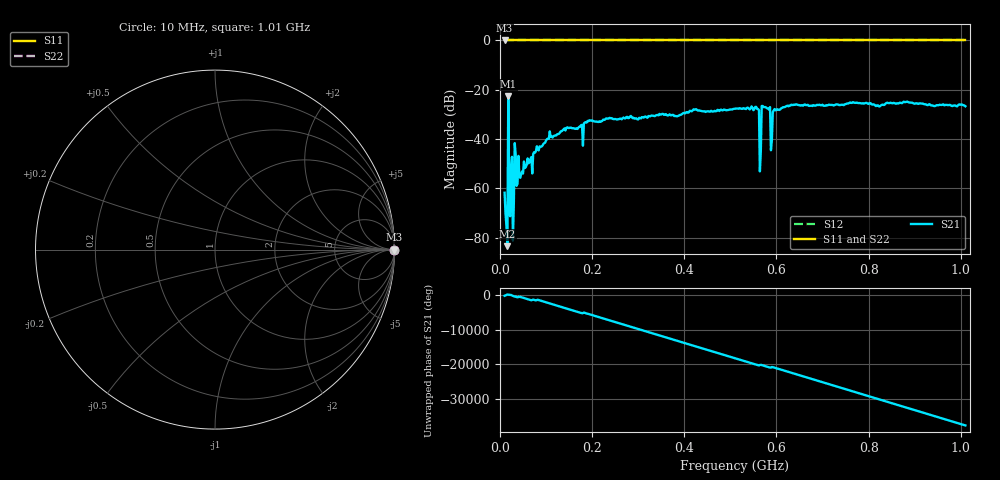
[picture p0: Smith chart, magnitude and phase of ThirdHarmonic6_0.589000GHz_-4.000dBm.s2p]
! 8/15/2025 7:05:49 PM
! C:\ANRITSUVNA\TEMP\TEMP.S2P
! CHANNEL.1
! TR.MEASUREMENT
! RAW.DATA
! RF.CORRECTION.OFF
! AVERAGING.OFF
! IF.BANDWIDTH: 5KHZ
! SWEEPTYPE:  FREQ.SWEEP(Linear)
! Reference Plane Port Info
! PORT:  PORT1  PORT2
! DISTANCE:  0  m  0  m
! TIME:  0  s  0  s
! PHASE.OFFSET:  0  deg.  0  deg.
! LOSS:  0  dB  0  dB
! REF.LOSS:  0  dB  0  dB
! REF.FREQ:  0  Hz  0  Hz
! Power Info
! POWER:  -20  dBm  -20  dBm
! EFF.POWER:  -20  dBm  -20  dBm
! SOURCE.ATTEN:  0  dB  0  dB
! TEST.ATTEN:  0  dB  0  dB
# GHZ S RI R 50.0
! FREQ.GHZ  S11RE  S11IM  S21RE  S21IM  S12RE  S12IM  S22RE  S22IM
!; PortSelection: Port_12
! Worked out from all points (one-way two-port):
!   501 points, 10 MHz to 1.01 GHz, reference 50 ohm
!   highest |S21| = -22.58 dB at 18 MHz (marker M1); lowest = -83.5 dB at 16 MHz (marker M2)
!   lowest |S11| = 0.0 dB at 10 MHz (marker M3)
!   |S11| at or under -10 dB: nowhere
!   |S22| runs from 0.0 to 0.0 dB; largest |S21 - S12| = 1.1
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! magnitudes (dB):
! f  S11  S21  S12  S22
! 10 MHz  0.0  -61.8  0.0  0.0
! 12 MHz  0.0  -70.3  0.0  0.0
! 14 MHz  0.0  -75.2  0.0  0.0
! 16 MHz  0.0  -83.5  0.0  0.0
! 18 MHz  0.0  -22.6  0.0  0.0
! 22 MHz  0.0  -71.3  0.0  0.0
! 24 MHz  0.0  -51.5  0.0  0.0
! 36 MHz  0.0  -59.0  0.0  0.0
! 46 MHz  0.0  -54.1  0.0  0.0
! 106 MHz  0.0  -39.9  0.0  0.0
! 178 MHz  0.0  -34.2  0.0  0.0
! 344 MHz  0.0  -30.4  0.0  0.0
! 510 MHz  0.0  -27.7  0.0  0.0
! 558 MHz  0.0  -27.8  0.0  0.0
! 562 MHz  0.0  -28.2  0.0  0.0
! 568 MHz  0.0  -26.6  0.0  0.0
! 572 MHz  0.0  -27.1  0.0  0.0
! 592 MHz  0.0  -29.1  0.0  0.0
! 598 MHz  0.0  -28.3  0.0  0.0
! 678 MHz  0.0  -26.6  0.0  0.0
! 844 MHz  0.0  -25.4  0.0  0.0
! 1.01 GHz  0.0  -26.7  0.0  0.0
